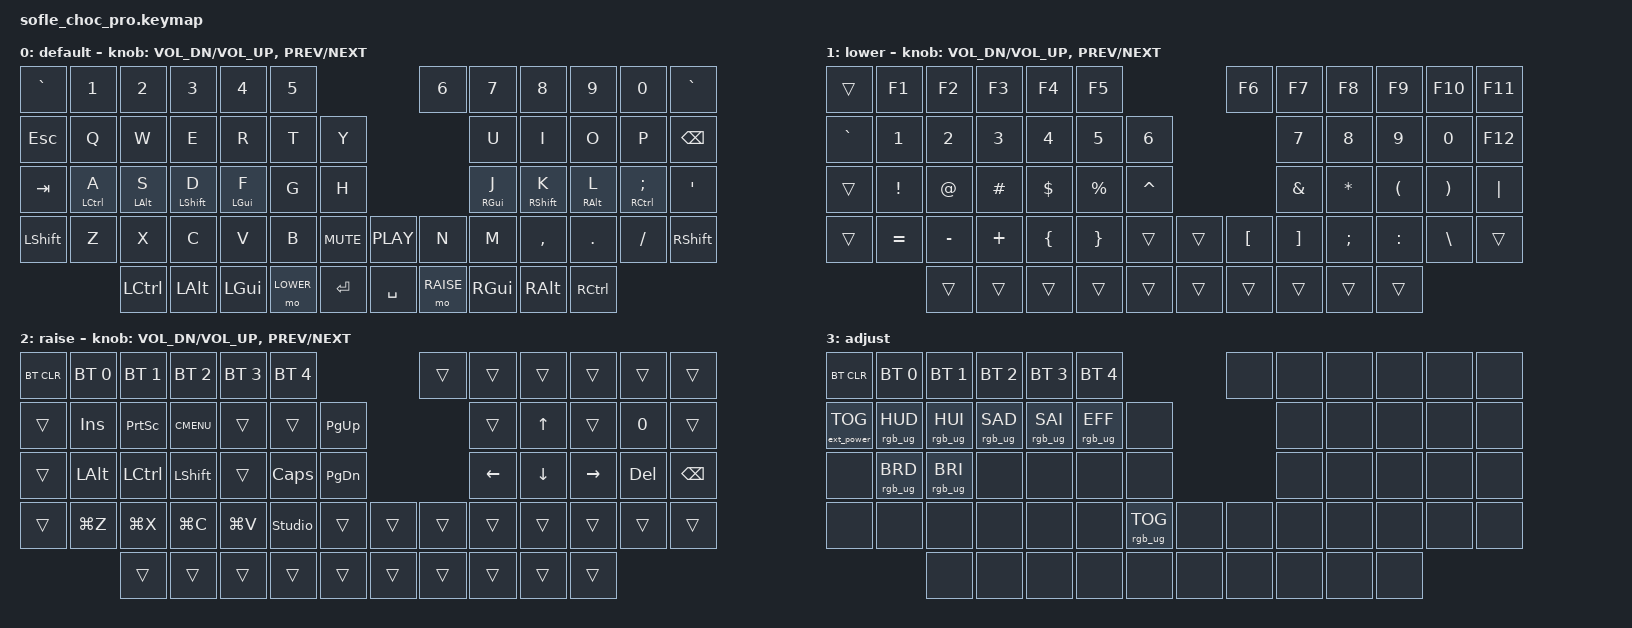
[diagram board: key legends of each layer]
/*
* Copyright (c) 2020 The ZMK Contributors
*
* SPDX-License-Identifier: MIT
*/

#include <behaviors.dtsi>
#include <dt-bindings/zmk/bt.h>
#include <dt-bindings/zmk/ext_power.h>
#include <dt-bindings/zmk/keys.h>
#include <dt-bindings/zmk/rgb.h>

#define BASE 0
#define LOWER 1
#define RAISE 2
#define ADJUST 3

/ {
    // Activate ADJUST layer by pressing raise and lower

    conditional_layers {
        compatible = "zmk,conditional-layers";

        adjust_layer {
            if-layers = <LOWER RAISE>;
            then-layer = <ADJUST>;
        };
    };

    behaviors {
        hml: hml {
            compatible = "zmk,behavior-hold-tap";
            label = "HML";
            bindings = <&kp>, <&kp>;

            #binding-cells = <2>;
            tapping-term-ms = <280>;
            quick-tap-ms = <175>;
            require-prior-idle-ms = <150>;
            flavor = "balanced";
            hold-trigger-on-release;
            hold-trigger-key-positions = <6 7 8 9 10 11 18 19 20 21 22 23 30 31 32 33 34 35 44 45 46 47 48 49>;
        };

        hmr: hmr {
            compatible = "zmk,behavior-hold-tap";
            label = "HMR";
            bindings = <&kp>, <&kp>;

            #binding-cells = <2>;
            tapping-term-ms = <280>;
            quick-tap-ms = <175>;
            require-prior-idle-ms = <150>;
            flavor = "balanced";
            hold-trigger-on-release;
            hold-trigger-key-positions = <0 1 14 2 3 4 5 17 16 15 13 12 24 25 26 27 28 29 41 40 39 38 37 36>;
        };
    };

    keymap {
        compatible = "zmk,keymap";

        default_layer {
            display-name = "default";

            // ------------------------------------------------------------------------------------------------------------
            // |   `   |  1  |  2  |  3   |  4   |  5   |                   |  6   |  7    |  8    |  9   |   0   |   `   |
            // |  ESC  |  Q  |  W  |  E   |  R   |  T   |                   |  Y   |  U    |  I    |  O   |   P   | BKSPC |
            // |  TAB  |  A  |  S  |  D   |  F   |  G   |                   |  H   |  J    |  K    |  L   |   ;   |   '   |
            // | SHIFT |  Z  |  X  |  C   |  V   |  B   |  MUTE  |  | PLAY  |  N   |  M    |  ,    |  .   |   /   | SHIFT |
            //               | GUI | ALT  | CTRL | LOWER|  ENTER |  | SPACE | RAISE| CTRL  | ALT   | GUI  |

            bindings = <
&kp GRAVE  &kp N1               &kp N2            &kp N3             &kp N4           &kp N5                             &kp N6     &kp N7            &kp N8              &kp N9             &kp N0                        &kp GRAVE
&kp ESC    &kp Q                &kp W             &kp E              &kp R            &kp T      &kp Y                              &kp U             &kp I               &kp O              &kp P                         &kp BSPC
&kp TAB    &hml LEFT_CONTROL A  &hml LEFT_ALT S   &hml LEFT_SHIFT D  &hml LEFT_GUI F  &kp G      &kp H                              &hmr RIGHT_GUI J  &hmr RIGHT_SHIFT K  &hmr RIGHT_ALT L   &hmr RIGHT_CONTROL SEMICOLON  &kp SQT
&kp LSHFT  &kp Z                &kp X             &kp C              &kp V            &kp B      &kp C_MUTE  &kp C_PLAY  &kp N      &kp M             &kp COMMA           &kp DOT            &kp FSLH                      &kp RSHFT
                                &kp LEFT_CONTROL  &kp LALT           &kp LEFT_GUI     &mo LOWER  &kp RET     &kp SPACE   &mo RAISE  &kp RIGHT_GUI     &kp RALT            &kp RIGHT_CONTROL
            >;

            sensor-bindings = <&inc_dec_kp C_VOL_DN C_VOL_UP &inc_dec_kp C_PREV C_NEXT>;
        };

        lower_layer {
            display-name = "lower";

            // ------------------------------------------------------------------------------------------------------------
            // |       |  F1 |  F2 |  F3  |  F4  |  F5  |                   |  F6  |  F7   |  F8   |  F9  |  F10  |  F11  |
            // |   `   |  1  |  2  |  3   |  4   |  5   |                   |  6   |  7    |  8    |  9   |   0   |  F12  |
            // |       |  !  |  @  |  #   |  $   |  %   |                   |  ^   |  &    |  *    |  (   |   )   |   |   |
            // |       |  =  |  -  |  +   |  {   |  }   |        |  |       |  [   |  ]    |  ;    |  :   |   \   |       |
            //               |     |      |      |      |        |  |       |      |       |       |      |

            bindings = <
&trans     &kp F1     &kp F2     &kp F3    &kp F4    &kp F5                        &kp F6    &kp F7    &kp F8     &kp F9     &kp F10   &kp F11
&kp GRAVE  &kp N1     &kp N2     &kp N3    &kp N4    &kp N5     &kp N6                       &kp N7    &kp N8     &kp N9     &kp N0    &kp F12
&trans     &kp EXCL   &kp AT     &kp HASH  &kp DLLR  &kp PRCNT  &kp CARET                    &kp AMPS  &kp ASTRK  &kp LPAR   &kp RPAR  &kp PIPE
&trans     &kp EQUAL  &kp MINUS  &kp PLUS  &kp LBRC  &kp RBRC   &trans     &trans  &kp LBKT  &kp RBKT  &kp SEMI   &kp COLON  &kp BSLH  &trans
                      &trans     &trans    &trans    &trans     &trans     &trans  &trans    &trans    &trans     &trans
            >;

            sensor-bindings = <&inc_dec_kp C_VOL_DN C_VOL_UP &inc_dec_kp C_PREV C_NEXT>;
        };

        raise_layer {
            display-name = "raise";

            // ------------------------------------------------------------------------------------------------------------
            // | BTCLR | BT1  | BT2  |  BT3  |  BT4  |  BT5 |                |      |      |       |      |       |       |
            // |       | INS  | PSCR | GUI   |       |      |                | PGUP |      |   ^   |      |       |       |
            // |       | ALT  | CTRL | SHIFT |       | CAPS |                | PGDN |   <- |   v   |  ->  |  DEL  | BKSPC |
            // |       | UNDO | CUT  | COPY  | PASTE |      |      |  |      |      |      |       |      |       |       |
            //                |      |       |       |      |      |  |      |      |      |       |      |

            bindings = <
&bt BT_CLR  &bt BT_SEL 0  &bt BT_SEL 1  &bt BT_SEL 2  &bt BT_SEL 3  &bt BT_SEL 4                       &trans  &trans    &trans    &trans     &trans   &trans
&trans      &kp INS       &kp PSCRN     &kp K_CMENU   &trans        &trans          &kp PG_UP                  &trans    &kp UP    &trans     &kp N0   &trans
&trans      &kp LALT      &kp LCTRL     &kp LSHFT     &trans        &kp CLCK        &kp PG_DN                  &kp LEFT  &kp DOWN  &kp RIGHT  &kp DEL  &kp BSPC
&trans      &kp LG(Z)     &kp LG(X)     &kp LG(C)     &kp LG(V)     &studio_unlock  &trans     &trans  &trans  &trans    &trans    &trans     &trans   &trans
                          &trans        &trans        &trans        &trans          &trans     &trans  &trans  &trans    &trans    &trans
            >;

            sensor-bindings = <&inc_dec_kp C_VOL_DN C_VOL_UP &inc_dec_kp C_PREV C_NEXT>;
        };

        adjust_layer {
            // ----------------------------------------------------------------------------------------------------------------------------
            // | BTCLR  |  BT1    |  BT2    |   BT3   |   BT4   |   BT5   |                  |      |      |       |      |       |       |
            // | EXTPWR | RGB_HUD | RGB_HUI | RGB_SAD | RGB_SAI | RGB_EFF |                  |      |      |       |      |       |       |
            // |        | RGB_BRD | RGB_BRI |         |         |         |                  |      |      |       |      |       |       |
            // |        |         |         |         |         |         | RGB_TOG | |      |      |      |       |      |       |       |
            //                    |         |         |         |         |         | |      |      |      |       |      |

            display-name = "adjust";
            bindings = <
&bt BT_CLR         &bt BT_SEL 0     &bt BT_SEL 1     &bt BT_SEL 2     &bt BT_SEL 3     &bt BT_SEL 4                             &none  &none  &none  &none  &none  &none
&ext_power EP_TOG  &rgb_ug RGB_HUD  &rgb_ug RGB_HUI  &rgb_ug RGB_SAD  &rgb_ug RGB_SAI  &rgb_ug RGB_EFF  &none                          &none  &none  &none  &none  &none
&none              &rgb_ug RGB_BRD  &rgb_ug RGB_BRI  &none            &none            &none            &none                          &none  &none  &none  &none  &none
&none              &none            &none            &none            &none            &none            &rgb_ug RGB_TOG  &none  &none  &none  &none  &none  &none  &none
                                    &none            &none            &none            &none            &none            &none  &none  &none  &none  &none
            >;
        };
    };
};
